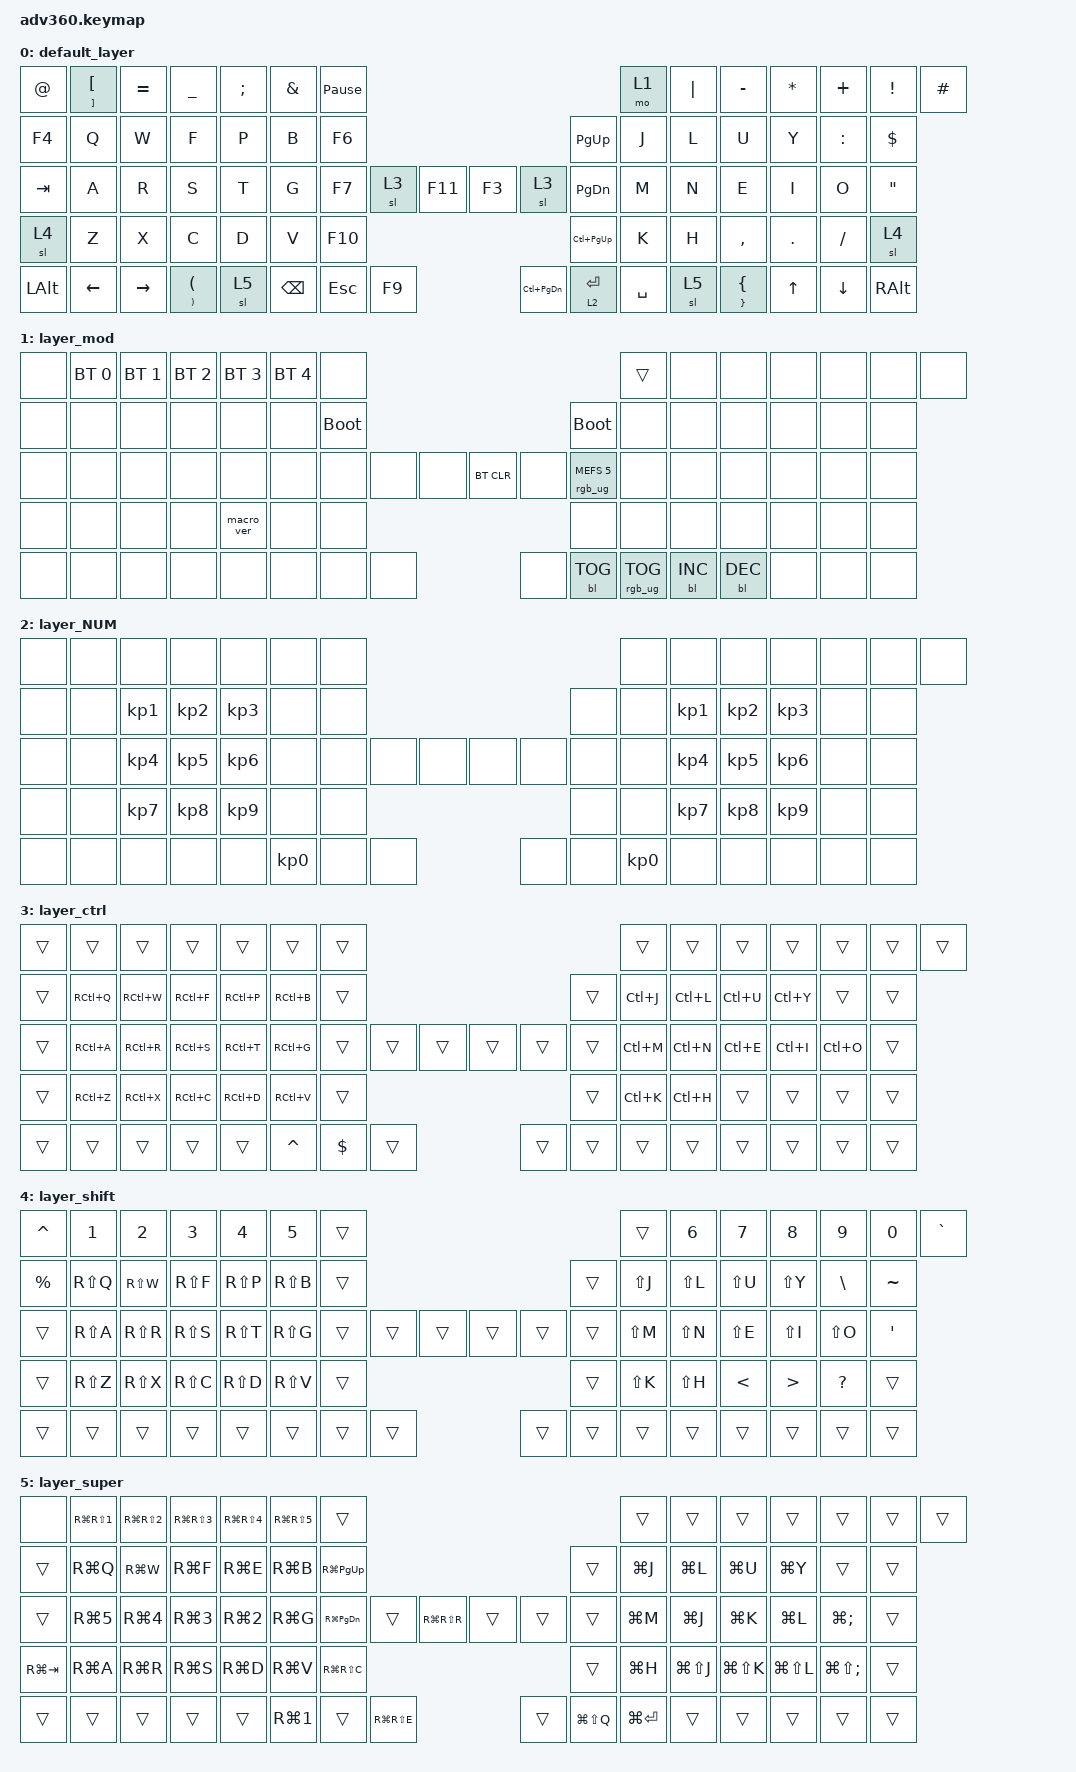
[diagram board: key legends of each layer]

/*
 * Copyright (c) 2020 The ZMK Contributors
 *
 * SPDX-License-Identifier: MIT
 */


/* THIS FILE WAS GENERATED!
 *
 * This file was generated automatically. You may or may not want to
 * edit it directly.
 */

#include <behaviors.dtsi>
#include <dt-bindings/zmk/keys.h>
#include <dt-bindings/zmk/bt.h>
#include <dt-bindings/zmk/rgb.h>
#include <dt-bindings/zmk/backlight.h>

/ {
  behaviors {
    #include "macros.dtsi"
    #include "version.dtsi"

    hm: homerow_mods {
        compatible = "zmk,behavior-hold-tap";
        label = "HOMEROW_MODS";
        #binding-cells = <2>;
        tapping-term-ms = <200>;
        quick_tap_ms = <175>;
        flavor = "tap-preferred";
        bindings = <&kp>, <&kp>;
    };
  };

    keymap {
        compatible = "zmk,keymap";


        default_layer {
            bindings = <
  &kp AT_SIGN  &mt RIGHT_BRACKET LEFT_BRACKET        &kp EQUAL                          &kp UNDERSCORE  &kp SEMICOLON  &kp AMPERSAND            &kp PAUSE_BREAK                                                                    &mo 1  &kp PIPE  &kp MINUS                    &kp STAR      &kp PLUS  &kp EXCLAMATION           &kp HASH
       &kp F4                           &kp Q            &kp W                                   &kp F          &kp P          &kp B                     &kp F6                                                                &kp PG_UP     &kp J      &kp L                       &kp U         &kp Y        &kp COLON         &kp DOLLAR
      &kp TAB                           &kp A            &kp R                                   &kp S          &kp T          &kp G                     &kp F7    &sl 3  &kp F11                         &kp F3        &sl 3  &kp PG_DN     &kp M      &kp N                       &kp E         &kp I            &kp O  &kp DOUBLE_QUOTES
        &sl 4                           &kp Z            &kp X                                   &kp C          &kp D          &kp V                                      &kp F10                  &kp LC(PG_UP)                             &kp K      &kp H                   &kp COMMA       &kp DOT         &kp FSLH              &sl 4
 &kp LEFT_ALT                  &kp LEFT_ARROW  &kp RIGHT_ARROW  &mt RIGHT_PARENTHESIS LEFT_PARENTHESIS          &sl 5                             &kp BACKSPACE  &kp ESC   &kp F9                  &kp LC(PG_DN)  &lt 2 ENTER  &kp SPACE                &sl 5  &mt RIGHT_BRACE LEFT_BRACE  &kp UP_ARROW   &kp DOWN_ARROW      &kp RIGHT_ALT
            >;
        };

        layer_mod {
            bindings = <
  &none  &bt BT_SEL 0  &bt BT_SEL 1  &bt BT_SEL 2  &bt BT_SEL 3  &bt BT_SEL 4                  &none                                                                          &trans   &none       &none       &none   &none   &none   &none
  &none         &none         &none         &none         &none         &none            &bootloader                                                                     &bootloader   &none       &none       &none   &none   &none   &none
  &none         &none         &none         &none         &none         &none                  &none   &none   &none                  &bt BT_CLR       &none  &rgb_ug RGB_MEFS_CMD 5   &none       &none       &none   &none   &none   &none
  &none         &none         &none         &none    &macro_ver         &none                                  &none                       &none                                       &none       &none       &none   &none   &none   &none
  &none         &none         &none         &none         &none                                &none   &none   &none                       &none  &bl BL_TOG         &rgb_ug RGB_TOG          &bl BL_INC  &bl BL_DEC   &none   &none   &none
            >;
        };

        layer_NUM {
            bindings = <
  &none   &none            &none            &none            &none   &none                      &none                                                            &none   &none            &none            &none            &none   &none   &none
  &none   &none  &kp KP_NUMBER_1  &kp KP_NUMBER_2  &kp KP_NUMBER_3   &none                      &none                                                            &none   &none  &kp KP_NUMBER_1  &kp KP_NUMBER_2  &kp KP_NUMBER_3   &none   &none
  &none   &none  &kp KP_NUMBER_4  &kp KP_NUMBER_5  &kp KP_NUMBER_6   &none                      &none   &none   &none                   &none   &none            &none   &none  &kp KP_NUMBER_4  &kp KP_NUMBER_5  &kp KP_NUMBER_6   &none   &none
  &none   &none  &kp KP_NUMBER_7  &kp KP_NUMBER_8  &kp KP_NUMBER_9   &none                                      &none                   &none                            &none  &kp KP_NUMBER_7  &kp KP_NUMBER_8  &kp KP_NUMBER_9   &none   &none
  &none   &none            &none            &none            &none                    &kp KP_NUMBER_0   &none   &none                   &none   &none  &kp KP_NUMBER_0                    &none            &none            &none   &none   &none
            >;
        };

        layer_ctrl {
            bindings = <
 &trans     &trans     &trans     &trans     &trans     &trans               &trans                                                      &trans     &trans     &trans     &trans     &trans     &trans  &trans
 &trans  &kp RC(Q)  &kp RC(W)  &kp RC(F)  &kp RC(P)  &kp RC(B)               &trans                                                      &trans  &kp LC(J)  &kp LC(L)  &kp LC(U)  &kp LC(Y)     &trans  &trans
 &trans  &kp RC(A)  &kp RC(R)  &kp RC(S)  &kp RC(T)  &kp RC(G)               &trans      &trans  &trans                  &trans  &trans  &trans  &kp LC(M)  &kp LC(N)  &kp LC(E)  &kp LC(I)  &kp LC(O)  &trans
 &trans  &kp RC(Z)  &kp RC(X)  &kp RC(C)  &kp RC(D)  &kp RC(V)                                   &trans                  &trans                  &kp LC(K)  &kp LC(H)     &trans     &trans     &trans  &trans
 &trans     &trans     &trans     &trans     &trans                       &kp CARET  &kp DOLLAR  &trans                  &trans  &trans  &trans                &trans     &trans     &trans     &trans  &trans
            >;
        };

        layer_shift {
            bindings = <
   &kp CARET  &kp NUMBER_1  &kp NUMBER_2  &kp NUMBER_3  &kp NUMBER_4  &kp NUMBER_5            &trans                                                  &trans  &kp NUMBER_6  &kp NUMBER_7   &kp NUMBER_8      &kp NUMBER_9   &kp NUMBER_0         &kp GRAVE
 &kp PERCENT     &kp RS(Q)     &kp RS(W)     &kp RS(F)     &kp RS(P)     &kp RS(B)            &trans                                                  &trans     &kp LS(J)     &kp LS(L)      &kp LS(U)         &kp LS(Y)  &kp BACKSLASH         &kp TILDE
      &trans     &kp RS(A)     &kp RS(R)     &kp RS(S)     &kp RS(T)     &kp RS(G)            &trans  &trans  &trans                  &trans  &trans  &trans     &kp LS(M)     &kp LS(N)      &kp LS(E)         &kp LS(I)      &kp LS(O)  &kp SINGLE_QUOTE
      &trans     &kp RS(Z)     &kp RS(X)     &kp RS(C)     &kp RS(D)     &kp RS(V)                            &trans                  &trans                     &kp LS(K)     &kp LS(H)  &kp LESS_THAN  &kp GREATER_THAN   &kp QUESTION            &trans
      &trans        &trans        &trans        &trans        &trans                          &trans  &trans  &trans                  &trans  &trans  &trans                      &trans         &trans            &trans         &trans            &trans
            >;
        };

        layer_super {
            bindings = <
       &none  &kp RG(RS(NUMBER_1))  &kp RG(RS(NUMBER_2))  &kp RG(RS(NUMBER_3))  &kp RG(RS(NUMBER_4))  &kp RG(RS(NUMBER_5))                      &trans                                                                       &trans     &trans         &trans         &trans         &trans            &trans  &trans
      &trans             &kp RG(Q)             &kp RG(W)             &kp RG(F)             &kp RG(E)             &kp RG(B)               &kp RG(PG_UP)                                                                       &trans  &kp LG(J)      &kp LG(L)      &kp LG(U)      &kp LG(Y)            &trans  &trans
      &trans      &kp RG(NUMBER_5)      &kp RG(NUMBER_4)      &kp RG(NUMBER_3)      &kp RG(NUMBER_2)             &kp RG(G)               &kp RG(PG_DN)  &trans  &kp RG(RS(R))                  &trans         &trans         &trans  &kp LG(M)      &kp LG(J)      &kp LG(K)      &kp LG(L)      &kp LG(SEMI)  &trans
 &kp RG(TAB)             &kp RG(A)             &kp RG(R)             &kp RG(S)             &kp RG(D)             &kp RG(V)                                      &kp RG(RS(C))                  &trans                                &kp LG(H)  &kp LG(LS(J))  &kp LG(LS(K))  &kp LG(LS(L))  &kp LG(LS(SEMI))  &trans
      &trans                &trans                &trans                &trans                &trans                                  &kp RG(NUMBER_1)  &trans  &kp RG(RS(E))                  &trans  &kp LG(LS(Q))  &kp LG(ENTER)                    &trans         &trans         &trans            &trans  &trans
            >;
        };

    };
};
